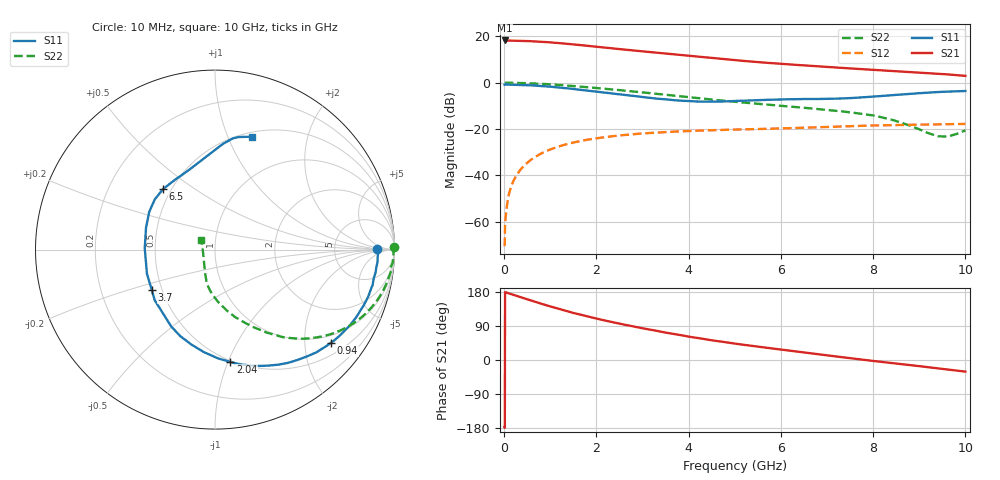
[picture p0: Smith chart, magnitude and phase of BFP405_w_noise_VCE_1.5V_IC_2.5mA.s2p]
! Infineon Technologies  Discrete & RF Semiconductors
! BFP405
! VCE =  1.5 V,  IC =  2.5 mA
! Common Emitter S-Parameters:  Jan 2016
# GHz  S  MA  R  50
!  f  S11  S21  S12  S22
! GHz  MAG  ANG  MAG  ANG  MAG  ANG  MAG  ANG
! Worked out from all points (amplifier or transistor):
!   233 points, 10 MHz to 10 GHz, reference 50 ohm
!   highest |S21| = 18.2 dB at 10 MHz (marker M1)
!   |S21| within 3 dB of that: start of sweep to 2.144 GHz
!   unconditionally stable (mu >= 1): 4.08 GHz to end of sweep
!   at 200 MHz: K = 0.05, MSG = 30.2 dB, |S12| = -42.4 dB
!   at 1.74 GHz: K = 0.37, MSG = 20.4 dB, |S12| = -24.8 dB
!   at 10 GHz: K = 1.64, MAG = 5.7 dB, |S12| = -17.8 dB
!   lowest NFmin = 0.94 dB at 900 MHz
!   S11 on the Smith chart (normalised r, x): 10 MHz: 19, +1; 940 MHz: 0.79, -2.63; 2.04 GHz: 0.49, -1.02; 3.7 GHz: 0.44, -0.24; 6.5 GHz: 0.45, +0.38; 10 GHz: 0.55, +1.22
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0.01  0.9008 0.3  8.12 -177.1  0.0003 -44.2  0.9994 0.8
0.015  0.9054 -0.2  8.07 -179.0  0.0004 68.6  0.9955 0.4
0.02  0.9101 -0.7  8.03 179.0  0.0009 86.5  0.9917 0.0
0.065  0.9072 -2.9  8.025 177.5  0.0024 89.0  0.9947 -1.2
0.2  0.9035 -8.3  8.035 172.0  0.0076 85.6  0.9918 -4.5
0.5  0.8845 -20.7  7.91 160.3  0.0188 79.2  0.9744 -11.1
0.8  0.8494 -33.2  7.629 148.7  0.0296 72.7  0.9459 -17.6
0.94  0.8286 -38.8  7.458 143.5  0.0344 69.6  0.9283 -20.5
1.3  0.7678 -53.2  6.972 130.8  0.0457 62.1  0.8778 -27.6
1.68  0.698 -68.1  6.417 118.6  0.056 54.8  0.8178 -34.2
2.04  0.6319 -82.2  5.892 108.1  0.0642 48.6  0.7612 -39.6
2.62  0.5426 -104.6  5.146 92.9  0.0748 40.1  0.6726 -47.4
3  0.4935 -119.5  4.73 83.7  0.0806 35.1  0.6173 -52.2
3.4  0.445 -135.4  4.322 74.8  0.0852 30.2  0.5605 -56.6
3.7  0.4178 -147.6  4.044 68.3  0.0883 27.0  0.5214 -59.9
4.5  0.3914 179.0  3.402 52.0  0.0947 19.5  0.4314 -68.8
5.1  0.4056 159.8  2.997 41.6  0.0981 14.9  0.3797 -74.8
6.5  0.4444 130.7  2.363 19.8  0.107 7.1  0.2881 -87.2
6.8  0.4448 124.2  2.252 15.3  0.1094 5.4  0.2702 -89.8
8.4  0.5375 92.6  1.783 -8.0  0.1218 -5.0  0.1591 -109.1
9.4  0.6278 80.8  1.56 -22.1  0.1267 -11.4  0.0701 -159.3
10  0.6613 72.0  1.401 -30.7  0.1292 -14.5  0.0935 145.0
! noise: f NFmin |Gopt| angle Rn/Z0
0.9  0.94  0.53  14  0.37
1.8  1.25  0.42  26  0.35
2.4  1.45  0.36  35  0.34
3  1.48  0.34  51  0.32
4  1.69  0.22  76  0.25
5  2.05  0.17  117  0.21
